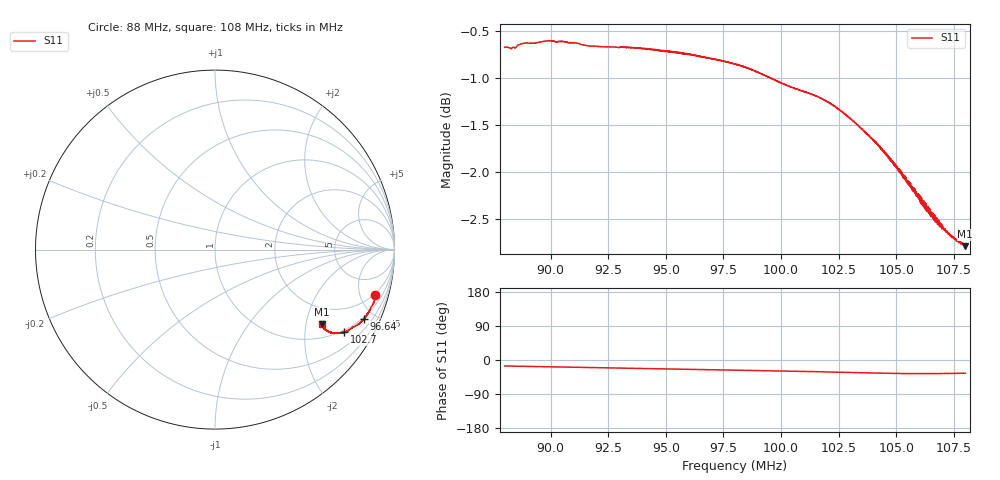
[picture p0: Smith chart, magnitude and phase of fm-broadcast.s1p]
! Calibrated averaged scanner-service zoom
# Hz S RI R 50
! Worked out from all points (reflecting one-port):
!   2001 points, 88 MHz to 108 MHz, reference 50 ohm
!   lowest |S11| = -2.8 dB at 108 MHz (marker M1), VSWR 6.29, Z = 70.4 - j123 ohm
!   phase of S11 starts at -16 deg and turns -19 deg over the sweep
!   S11 on the Smith chart (normalised r, x): 88 MHz: 1.91, -6.71; 96.64 MHz: 0.92, -4.34; 102.7 MHz: 0.93, -3.18; 108 MHz: 1.41, -2.48
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8.8e7  0.8912 -0.2509
8.838e7  0.889 -0.258
8.868e7  0.8909 -0.2645
8.89e7  0.8908 -0.2689
8.995e7  0.8872 -0.2893
9.05e7  0.883 -0.2995
9.108e7  0.8778 -0.3091
9.163e7  0.8716 -0.3164
9.3e7  0.8634 -0.3336
9.399e7  0.8567 -0.3479
9.55e7  0.842 -0.3698
9.664e7  0.8296 -0.3857
9.8e7  0.8113 -0.4053
9.915e7  0.7908 -0.4211
1.005e8  0.7672 -0.4336
1.0158e8  0.7479 -0.447
1.021e8  0.736 -0.4542
1.0268e8  0.7204 -0.4595
1.03e8  0.7116 -0.463
1.0372e8  0.6906 -0.4664
1.0439e8  0.6715 -0.4664
1.0495e8  0.6518 -0.4639
1.055e8  0.6373 -0.4603
1.0612e8  0.6182 -0.4477
1.0679e8  0.6051 -0.4353
1.0735e8  0.598 -0.4276
1.0799e8  0.5952 -0.4151
1.08e8  0.5961 -0.4152
